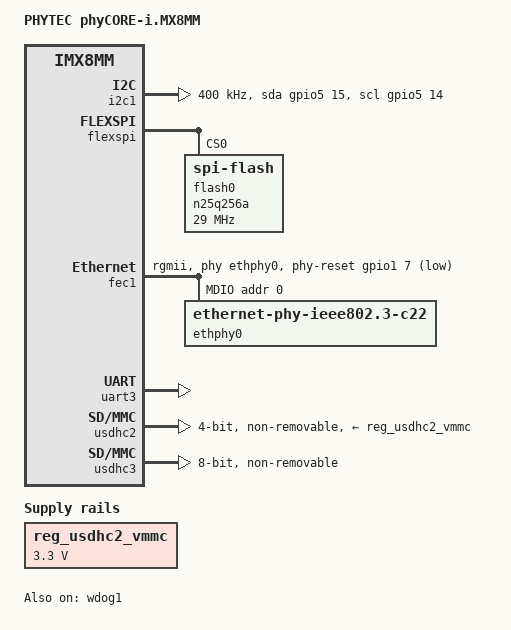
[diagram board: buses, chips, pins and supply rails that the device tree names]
/*
 * Copyright (C) 2019 PHYTEC Messtechnik GmbH
 * Author: Teresa Remmet <t.remmet@phytec.de>
 *
 * This program is free software; you can redistribute it and/or
 * modify it under the terms of the GNU General Public License
 * as published by the Free Software Foundation; either version 2
 * of the License, or (at your option) any later version.
 *
 * This program is distributed in the hope that it will be useful,
 * but WITHOUT ANY WARRANTY; without even the implied warranty of
 * MERCHANTABILITY or FITNESS FOR A PARTICULAR PURPOSE.  See the
 * GNU General Public License for more details.
 */

/dts-v1/;

#include "fsl-imx8mm.dtsi"
#include <dt-bindings/net/ti-dp83867.h>

/ {
	model = "PHYTEC phyCORE-i.MX8MM";
	compatible = "phytec,imx8mm-phycore-som", "fsl,imx8mm";

	chosen {
		bootargs = "console=ttymxc2,115200 earlycon=ec_imx6q,0x30880000,115200";
		stdout-patch = &uart3;
	};

	reg_usdhc2_vmmc: regulator-usdhc2 {
		compatible = "regulator-fixed";
		regulator-name = "VSD_3V3";
		regulator-min-microvolt = <3300000>;
		regulator-max-microvolt = <3300000>;
		startup-delay-us = <100>;
		off-on-delay-us = <12000>;
	};
};

&iomuxc {

	imx8mm-phycore-som {

		pinctrl_fec1: fec1grp {
			fsl,pins = <
				MX8MM_IOMUXC_ENET_MDC_ENET1_MDC		0x3
				MX8MM_IOMUXC_ENET_MDIO_ENET1_MDIO	0x3
				MX8MM_IOMUXC_ENET_TD3_ENET1_RGMII_TD3	0x1f
				MX8MM_IOMUXC_ENET_TD2_ENET1_RGMII_TD2	0x1f
				MX8MM_IOMUXC_ENET_TD1_ENET1_RGMII_TD1	0x1f
				MX8MM_IOMUXC_ENET_TD0_ENET1_RGMII_TD0	0x1f
				MX8MM_IOMUXC_ENET_RD3_ENET1_RGMII_RD3	0x91
				MX8MM_IOMUXC_ENET_RD2_ENET1_RGMII_RD2	0x91
				MX8MM_IOMUXC_ENET_RD1_ENET1_RGMII_RD1	0x91
				MX8MM_IOMUXC_ENET_RD0_ENET1_RGMII_RD0	0x91
				MX8MM_IOMUXC_ENET_TXC_ENET1_RGMII_TXC	0x1f
				MX8MM_IOMUXC_ENET_RXC_ENET1_RGMII_RXC	0x91
				MX8MM_IOMUXC_ENET_RX_CTL_ENET1_RGMII_RX_CTL	0x91
				MX8MM_IOMUXC_ENET_TX_CTL_ENET1_RGMII_TX_CTL	0x1f
				MX8MM_IOMUXC_GPIO1_IO07_GPIO1_IO7	0x19
			>;
		};

		pinctrl_flexspi: flexspigrp {
			fsl,pins = <
				MX8MM_IOMUXC_NAND_ALE_QSPI_A_SCLK 0x1c4
				MX8MM_IOMUXC_NAND_CE0_B_QSPI_A_SS0_B 0x84

				MX8MM_IOMUXC_NAND_DATA00_QSPI_A_DATA0 0x84
				MX8MM_IOMUXC_NAND_DATA01_QSPI_A_DATA1 0x84
				MX8MM_IOMUXC_NAND_DATA02_QSPI_A_DATA2 0x84
				MX8MM_IOMUXC_NAND_DATA03_QSPI_A_DATA3 0x84
			>;
		};

		pinctrl_i2c1: i2c1grp {
			fsl,pins = <
				MX8MM_IOMUXC_I2C1_SCL_I2C1_SCL			0x400001c3
				MX8MM_IOMUXC_I2C1_SDA_I2C1_SDA			0x400001c3
			>;
		};

		pinctrl_i2c1_gpio: i2c1grp-gpio {
			fsl,pins = <
				MX8MM_IOMUXC_I2C1_SCL_GPIO5_IO14        		0x1c3
				MX8MM_IOMUXC_I2C1_SDA_GPIO5_IO15        	0x1c3
			>;
		};

		pinctrl_uart3: uart3grp {
			fsl,pins = <
				MX8MM_IOMUXC_UART3_RXD_UART3_DCE_RX	0x49
				MX8MM_IOMUXC_UART3_TXD_UART3_DCE_TX	0x49
			>;
		};

		pinctrl_usdhc2: usdhc2grp {
			fsl,pins = <
				MX8MM_IOMUXC_SD2_CLK_USDHC2_CLK		0x190
				MX8MM_IOMUXC_SD2_CMD_USDHC2_CMD		0x1d0
				MX8MM_IOMUXC_SD2_DATA0_USDHC2_DATA0	0x1d0
				MX8MM_IOMUXC_SD2_DATA1_USDHC2_DATA1	0x1d0
				MX8MM_IOMUXC_SD2_DATA2_USDHC2_DATA2	0x1d0
				MX8MM_IOMUXC_SD2_DATA3_USDHC2_DATA3	0x1d0
				MX8MM_IOMUXC_GPIO1_IO04_USDHC2_VSELECT	0x1d0
				MX8MM_IOMUXC_SD2_CD_B_GPIO2_IO12	0x1d0
			>;
		};

		pinctrl_usdhc2_100mhz: usdhc2grp100mhz {
			fsl,pins = <
				MX8MM_IOMUXC_SD2_CLK_USDHC2_CLK		0x194
				MX8MM_IOMUXC_SD2_CMD_USDHC2_CMD		0x1d4
				MX8MM_IOMUXC_SD2_DATA0_USDHC2_DATA0	0x1d4
				MX8MM_IOMUXC_SD2_DATA1_USDHC2_DATA1	0x1d4
				MX8MM_IOMUXC_SD2_DATA2_USDHC2_DATA2	0x1d4
				MX8MM_IOMUXC_SD2_DATA3_USDHC2_DATA3	0x1d4
				MX8MM_IOMUXC_GPIO1_IO04_USDHC2_VSELECT	0x1d0
				MX8MM_IOMUXC_SD2_CD_B_GPIO2_IO12	0x1d0
			>;
		};

		pinctrl_usdhc2_200mhz: usdhc2grp200mhz {
			fsl,pins = <
				MX8MM_IOMUXC_SD2_CLK_USDHC2_CLK		0x196
				MX8MM_IOMUXC_SD2_CMD_USDHC2_CMD		0x1d6
				MX8MM_IOMUXC_SD2_DATA0_USDHC2_DATA0	0x1d6
				MX8MM_IOMUXC_SD2_DATA1_USDHC2_DATA1	0x1d6
				MX8MM_IOMUXC_SD2_DATA2_USDHC2_DATA2	0x1d6
				MX8MM_IOMUXC_SD2_DATA3_USDHC2_DATA3	0x1d6
				MX8MM_IOMUXC_GPIO1_IO04_USDHC2_VSELECT	0x1d0
				MX8MM_IOMUXC_SD2_CD_B_GPIO2_IO12	0x1d0
			>;
		};

		pinctrl_usdhc3: usdhc3grp {
			fsl,pins = <
				MX8MM_IOMUXC_NAND_WE_B_USDHC3_CLK		0x40000190
				MX8MM_IOMUXC_NAND_WP_B_USDHC3_CMD		0x1d0
				MX8MM_IOMUXC_NAND_DATA04_USDHC3_DATA0		0x1d0
				MX8MM_IOMUXC_NAND_DATA05_USDHC3_DATA1		0x1d0
				MX8MM_IOMUXC_NAND_DATA06_USDHC3_DATA2		0x1d0
				MX8MM_IOMUXC_NAND_DATA07_USDHC3_DATA3		0x1d0
				MX8MM_IOMUXC_NAND_RE_B_USDHC3_DATA4		0x1d0
				MX8MM_IOMUXC_NAND_CE2_B_USDHC3_DATA5		0x1d0
				MX8MM_IOMUXC_NAND_CE3_B_USDHC3_DATA6		0x1d0
				MX8MM_IOMUXC_NAND_CLE_USDHC3_DATA7		0x1d0
				MX8MM_IOMUXC_NAND_CE1_B_USDHC3_STROBE 		0x190
			>;
		};

		pinctrl_usdhc3_100mhz: usdhc3grp100mhz {
			fsl,pins = <
				MX8MM_IOMUXC_NAND_WE_B_USDHC3_CLK		0x40000194
				MX8MM_IOMUXC_NAND_WP_B_USDHC3_CMD		0x1d4
				MX8MM_IOMUXC_NAND_DATA04_USDHC3_DATA0		0x1d4
				MX8MM_IOMUXC_NAND_DATA05_USDHC3_DATA1		0x1d4
				MX8MM_IOMUXC_NAND_DATA06_USDHC3_DATA2		0x1d4
				MX8MM_IOMUXC_NAND_DATA07_USDHC3_DATA3		0x1d4
				MX8MM_IOMUXC_NAND_RE_B_USDHC3_DATA4		0x1d4
				MX8MM_IOMUXC_NAND_CE2_B_USDHC3_DATA5		0x1d4
				MX8MM_IOMUXC_NAND_CE3_B_USDHC3_DATA6		0x1d4
				MX8MM_IOMUXC_NAND_CLE_USDHC3_DATA7		0x1d4
				MX8MM_IOMUXC_NAND_CE1_B_USDHC3_STROBE 		0x194
			>;
		};

		pinctrl_usdhc3_200mhz: usdhc3grp200mhz {
			fsl,pins = <
				MX8MM_IOMUXC_NAND_WE_B_USDHC3_CLK		0x40000196
				MX8MM_IOMUXC_NAND_WP_B_USDHC3_CMD		0x1d6
				MX8MM_IOMUXC_NAND_DATA04_USDHC3_DATA0		0x1d6
				MX8MM_IOMUXC_NAND_DATA05_USDHC3_DATA1		0x1d6
				MX8MM_IOMUXC_NAND_DATA06_USDHC3_DATA2		0x1d6
				MX8MM_IOMUXC_NAND_DATA07_USDHC3_DATA3		0x1d6
				MX8MM_IOMUXC_NAND_RE_B_USDHC3_DATA4		0x1d6
				MX8MM_IOMUXC_NAND_CE2_B_USDHC3_DATA5		0x1d6
				MX8MM_IOMUXC_NAND_CE3_B_USDHC3_DATA6		0x1d6
				MX8MM_IOMUXC_NAND_CLE_USDHC3_DATA7		0x1d6
				MX8MM_IOMUXC_NAND_CE1_B_USDHC3_STROBE 		0x196
			>;
		};

		pinctrl_wdog: wdoggrp {
			fsl,pins = <
				MX8MM_IOMUXC_GPIO1_IO02_WDOG1_WDOG_B		0xc6
			>;
		};
	};
};

&i2c1 {
	clock-frequency = <400000>;
	pinctrl-names = "default", "gpio";
	pinctrl-0 = <&pinctrl_i2c1>;
	pinctrl-1 = <&pinctrl_i2c1_gpio>;
	scl-gpios = <&gpio5 14 GPIO_ACTIVE_HIGH>;
	sda-gpios = <&gpio5 15 GPIO_ACTIVE_HIGH>;
	status = "okay";
};

&flexspi {
	pinctrl-names = "default";
	pinctrl-0 = <&pinctrl_flexspi>;
	status = "okay";

	flash0: n25q256a@0 {
		reg = <0>;
		#address-cells = <1>;
		#size-cells = <1>;
		compatible = "spi-flash";
		spi-max-frequency = <29000000>;
		spi-nor,ddr-quad-read-dummy = <8>;
	};
};

&fec1 {
	pinctrl-names = "default";
	pinctrl-0 = <&pinctrl_fec1>;
	phy-mode = "rgmii";
	phy-handle = <&ethphy0>;
	phy-reset-gpios = <&gpio1 7 GPIO_ACTIVE_HIGH>;
	phy-reset-duration = <10>;
	phy-reset-post-delay = <150>;

	status = "okay";

	mdio {
		#address-cells = <1>;
		#size-cells = <0>;

		ethphy0: ethernet-phy@0 {
			compatible = "ethernet-phy-ieee802.3-c22";
			reg = <0x0>;
			ti,rx-internal-delay = <DP83867_RGMIIDCTL_2_00_NS>;
			ti,tx-internal-delay = <DP83867_RGMIIDCTL_2_00_NS>;
			ti,fifo-depth = <DP83867_PHYCR_FIFO_DEPTH_4_B_NIB>;
			ti,clk-output-sel = <DP83867_CLK_O_SEL_CHN_A_TCLK>;
			enet-phy-lane-no-swap;
		};
	};
};

&uart3 { /* console */
	pinctrl-names = "default";
	pinctrl-0 = <&pinctrl_uart3>;
	status = "okay";
};

&usdhc2 {
	pinctrl-names = "default", "state_100mhz", "state_200mhz";
	pinctrl-0 = <&pinctrl_usdhc2>;
	pinctrl-1 = <&pinctrl_usdhc2_100mhz>;
	pinctrl-2 = <&pinctrl_usdhc2_200mhz>;
	bus-width = <4>;
	non-removable;
	vmmc-supply = <&reg_usdhc2_vmmc>;
	status = "okay";
};

&usdhc3 {
	pinctrl-names = "default", "state_100mhz", "state_200mhz";
	pinctrl-0 = <&pinctrl_usdhc3>;
	pinctrl-1 = <&pinctrl_usdhc3_100mhz>;
	pinctrl-2 = <&pinctrl_usdhc3_200mhz>;
	bus-width = <8>;
	non-removable;
	status = "okay";
};

&wdog1 {
	pinctrl-names = "default";
	pinctrl-0 = <&pinctrl_wdog>;
	fsl,ext-reset-output;
	status = "okay";
};
